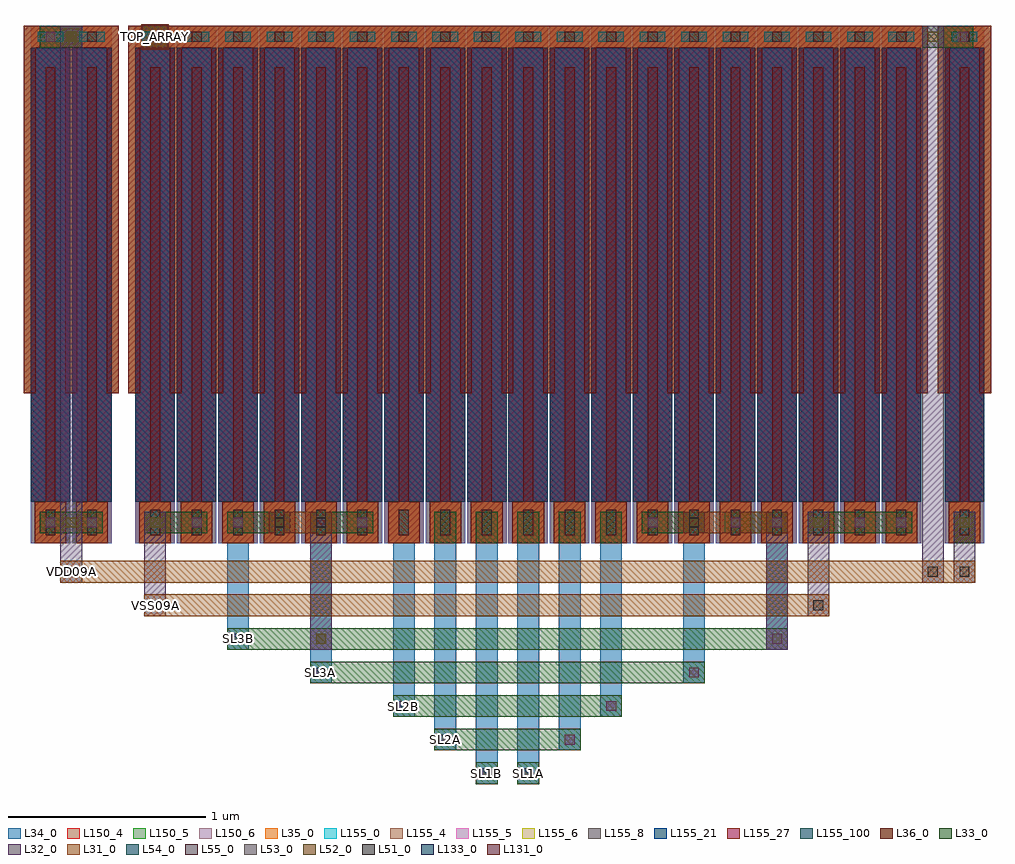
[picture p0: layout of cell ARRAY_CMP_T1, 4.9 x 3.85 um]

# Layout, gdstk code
from math import pi, radians
import gdstk
lib = gdstk.Library(unit=1e-6, precision=1e-09)
def R(c, l, rs):  # rectangles x0, y0, x1, y1
    for r in rs: c.add(gdstk.rectangle(r[:2], r[2:], *l))
def A(c, l, x, y, w, h, nx, ny, dx, dy):  # array of equal rectangles
    R(c, l, [(x+i*dx, y+j*dy, x+i*dx+w, y+j*dy+h) for i in range(nx) for j in range(ny)])
L31_0 = (31, 0)
L32_0 = (32, 0)
L33_0 = (33, 0)
L34_0 = (34, 0)
L35_0 = (35, 0)
L36_0 = (36, 0)
L51_0 = (51, 0)
L52_0 = (52, 0)
L53_0 = (53, 0)
L54_0 = (54, 0)
L55_0 = (55, 0)
L131_0 = (131, 0)
L133_0 = (133, 0)
L150_4 = (150, 4)
L150_5 = (150, 5)
L150_6 = (150, 6)
L155_0 = (155, 0)
L155_4 = (155, 4)
L155_5 = (155, 5)
L155_6 = (155, 6)
L155_8 = (155, 8)
L155_21 = (155, 21)
L155_27 = (155, 27)
L155_100 = (155, 100)

m5_m4_cdns_621960005226 = lib.new_cell('M5_M4_CDNS_621960005226')
R(m5_m4_cdns_621960005226, L34_0, [(-0.07,-0.105,0.07,0.105)])
R(m5_m4_cdns_621960005226, L35_0, [(-0.07,-0.105,0.07,0.105)])
R(m5_m4_cdns_621960005226, L54_0, [(-0.025,-0.065,0.025,0.065)])

m6_m5_cdns_621960005227 = lib.new_cell('M6_M5_CDNS_621960005227')
R(m6_m5_cdns_621960005227, L35_0, [(-0.07,-0.105,0.07,0.105)])
R(m6_m5_cdns_621960005227, L36_0, [(-0.055,-0.105,0.055,0.105)])
R(m6_m5_cdns_621960005227, L55_0, [(-0.025,-0.065,0.025,0.065)])

m5_m4_cdns_621960005228 = lib.new_cell('M5_M4_CDNS_621960005228')
R(m5_m4_cdns_621960005228, L34_0, [(-0.095,-0.055,0.095,0.055)])
R(m5_m4_cdns_621960005228, L35_0, [(-0.12,-0.055,0.12,0.055)])
R(m5_m4_cdns_621960005228, L54_0, [(-0.065,-0.025,0.065,0.025)])

m6_m5_cdns_621960005229 = lib.new_cell('M6_M5_CDNS_621960005229')
R(m6_m5_cdns_621960005229, L35_0, [(-0.055,-0.055,0.055,0.055)])
R(m6_m5_cdns_621960005229, L36_0, [(-0.055,-0.055,0.055,0.055)])
R(m6_m5_cdns_621960005229, L55_0, [(-0.025,-0.025,0.025,0.025)])

cu1f = lib.new_cell('CU1F')
R(cu1f, L34_0, [(0.02,0,0.18,0.21), (-0.035,2.51,0.235,2.62)])
R(cu1f, L35_0, [(0.02,0,0.18,0.21), (-0.035,2.51,0.235,2.62)])
R(cu1f, L36_0, [(0.02,0,0.18,0.21), (-0.035,2.51,0.235,2.62)])
R(cu1f, L150_4, [(0,0,0.2,2.62)])
R(cu1f, L150_5, [(0,0,0.2,2.62)])
R(cu1f, L150_6, [(0,0,0.2,2.62)])
R(cu1f, L155_0, [(0,0.21,0.2,2.51)])
R(cu1f, L155_4, [(0,0.21,0.2,2.51)])
R(cu1f, L155_5, [(0,0.21,0.2,2.51)])
R(cu1f, L155_6, [(0,0.21,0.2,2.51)])
R(cu1f, L155_8, [(0,0.21,0.2,2.51)])
R(cu1f, L155_21, [(0,0.21,0.2,2.51)])
R(cu1f, L155_27, [(0,0.21,0.2,2.51)])
R(cu1f, L155_100, [(0,0.21,0.2,2.51)])
cu1f.add(gdstk.FlexPath([(0.205,2.59),(0.205,0.76)], 0.06, ends=(0.03, 0), simple_path=True, layer=34, datatype=0))  # L34_0
cu1f.add(gdstk.FlexPath([(0.1,2.41),(0.1,0)], 0.05, ends="flush", simple_path=True, layer=34, datatype=0))  # L34_0
cu1f.add(gdstk.FlexPath([(-0.005,2.59),(-0.005,0.76)], 0.06, ends=(0.03, 0), simple_path=True, layer=34, datatype=0))  # L34_0
cu1f.add(gdstk.FlexPath([(0.205,0.76),(0.205,2.59)], 0.06, ends=(0, 0.03), simple_path=True, layer=35, datatype=0))  # L35_0
cu1f.add(gdstk.FlexPath([(0.1,2.41),(0.1,0)], 0.05, ends="flush", simple_path=True, layer=35, datatype=0))  # L35_0
cu1f.add(gdstk.FlexPath([(-0.005,0.76),(-0.005,2.59)], 0.06, ends=(0, 0.03), simple_path=True, layer=35, datatype=0))  # L35_0
cu1f.add(gdstk.FlexPath([(0.205,0.76),(0.205,2.59)], 0.06, ends=(0, 0.03), simple_path=True, layer=36, datatype=0))  # L36_0
cu1f.add(gdstk.FlexPath([(0.1,2.41),(0.1,0)], 0.05, ends="flush", simple_path=True, layer=36, datatype=0))  # L36_0
cu1f.add(gdstk.FlexPath([(-0.005,0.76),(-0.005,2.59)], 0.06, ends=(0, 0.03), simple_path=True, layer=36, datatype=0))  # L36_0
cu1f.add(gdstk.Reference(m5_m4_cdns_621960005226, (0.1,0.105), rotation=pi, x_reflection=True))
cu1f.add(gdstk.Reference(m6_m5_cdns_621960005227, (0.1,0.105), rotation=pi, x_reflection=True))
cu1f.add(gdstk.Reference(m5_m4_cdns_621960005228, (0.1,2.565)))
cu1f.add(gdstk.Reference(m6_m5_cdns_621960005229, (0.1,2.565)))

m2_m1_cdns_621960005220 = lib.new_cell('M2_M1_CDNS_621960005220')
R(m2_m1_cdns_621960005220, L31_0, [(-0.055,-0.055,0.055,0.055)])
R(m2_m1_cdns_621960005220, L32_0, [(-0.055,-0.055,0.055,0.055)])
R(m2_m1_cdns_621960005220, L51_0, [(-0.025,-0.025,0.025,0.025)])

m3_m2_cdns_621960005221 = lib.new_cell('M3_M2_CDNS_621960005221')
R(m3_m2_cdns_621960005221, L32_0, [(-0.055,-0.055,0.055,0.055)])
R(m3_m2_cdns_621960005221, L33_0, [(-0.055,-0.055,0.055,0.055)])
R(m3_m2_cdns_621960005221, L52_0, [(-0.025,-0.025,0.025,0.025)])

m4_m3_cdns_621960005222 = lib.new_cell('M4_M3_CDNS_621960005222')
R(m4_m3_cdns_621960005222, L33_0, [(-0.055,-0.055,0.055,0.055)])
R(m4_m3_cdns_621960005222, L34_0, [(-0.055,-0.055,0.055,0.055)])
R(m4_m3_cdns_621960005222, L53_0, [(-0.025,-0.025,0.025,0.025)])

m4_m3_cdns_621960005223 = lib.new_cell('M4_M3_CDNS_621960005223')
R(m4_m3_cdns_621960005223, L33_0, [(-0.07,-0.065,0.07,0.065)])
R(m4_m3_cdns_621960005223, L34_0, [(-0.055,-0.055,0.055,0.055)])
R(m4_m3_cdns_621960005223, L53_0, [(-0.025,-0.025,0.025,0.025)])

m3_m2_cdns_621960005224 = lib.new_cell('M3_M2_CDNS_621960005224')
R(m3_m2_cdns_621960005224, L32_0, [(-0.065,-0.06,0.065,0.06)])
R(m3_m2_cdns_621960005224, L33_0, [(-0.07,-0.065,0.07,0.065)])
R(m3_m2_cdns_621960005224, L52_0, [(-0.025,-0.025,0.025,0.025)])

m2_m1_cdns_621960005225 = lib.new_cell('M2_M1_CDNS_621960005225')
R(m2_m1_cdns_621960005225, L31_0, [(-0.055,-0.055,0.055,0.055)])
R(m2_m1_cdns_621960005225, L32_0, [(-0.065,-0.06,0.065,0.06)])
R(m2_m1_cdns_621960005225, L51_0, [(-0.025,-0.025,0.025,0.025)])

array_cmp_t1 = lib.new_cell('ARRAY_CMP_T1')
R(array_cmp_t1, L31_0, [(0.575,-0.37,4.045,-0.26), (0.15,-0.2,4.785,-0.09), (1.205,0.05,1.525,0.16), (3.305,0.05,3.835,0.16), (0.56,2.5,0.7,2.63)])
R(array_cmp_t1, L32_0, [(1.415,-0.54,1.525,0.16), (3.725,-0.54,3.835,0.16), (0.575,-0.37,0.685,0.16), (3.935,-0.37,4.045,0.16), (0.15,-0.2,0.26,2.62), (4.515,-0.2,4.625,2.62), (4.675,-0.2,4.785,0.16)])
A(array_cmp_t1, L33_0, 2.045, 0, 0.11, 0.16, 5, 1, 0.21, 0)
A(array_cmp_t1, L33_0, 0.575, 0.05, 0.32, 0.11, 3, 1, 0.42, 0)
R(array_cmp_t1, L33_0, [(2.255,-1.22,2.365,-1.11), (2.465,-1.22,2.575,-1.11), (2.045,-1.05,2.785,-0.94), (1.835,-0.88,2.995,-0.77), (1.415,-0.71,3.415,-0.6), (0.995,-0.54,3.835,-0.43), (4.675,0,4.785,0.16), (0.045,0.05,0.365,0.16), (3.095,0.05,3.415,0.16), (3.515,0.05,3.835,0.16), (3.935,0.05,4.465,0.16), (0.045,2.51,0.26,2.62), (4.515,2.51,4.775,2.62)])
R(array_cmp_t1, L34_0, [(2.255,-1.22,2.365,0.16), (2.465,-1.22,2.575,0.16), (2.045,-1.05,2.155,0.16), (2.675,-1.05,2.785,0.16), (1.835,-0.88,1.945,0.16), (2.885,-0.88,2.995,0.16), (1.415,-0.71,1.525,0.16), (3.305,-0.71,3.415,0.16), (0.995,-0.54,1.105,0.16), (3.725,-0.54,3.835,0.16)])
R(array_cmp_t1, L131_0, [(0.605,-0.34,0.655,-0.29), (0.18,-0.17,0.23,-0.12), (0.605,2.54,0.655,2.59)])
R(array_cmp_t1, L133_0, [(2.285,-1.19,2.335,-1.14), (2.495,-1.19,2.545,-1.14), (2.075,-1.02,2.125,-0.97), (1.865,-0.85,1.915,-0.8), (1.445,-0.68,1.495,-0.63), (1.025,-0.51,1.075,-0.46)])
array_cmp_t1.add(gdstk.Reference(cu1f, (0,0)))
array_cmp_t1.add(gdstk.Reference(cu1f, (0.21,0)))
array_cmp_t1.add(gdstk.Reference(cu1f, (0.53,0)))
array_cmp_t1.add(gdstk.Reference(cu1f, (0.74,0)))
array_cmp_t1.add(gdstk.Reference(cu1f, (4.63,0)))
array_cmp_t1.add(gdstk.Reference(cu1f, (4.31,0)))
array_cmp_t1.add(gdstk.Reference(cu1f, (4.1,0)))
array_cmp_t1.add(gdstk.Reference(cu1f, (3.89,0)))
array_cmp_t1.add(gdstk.Reference(cu1f, (3.68,0)))
array_cmp_t1.add(gdstk.Reference(cu1f, (3.47,0)))
array_cmp_t1.add(gdstk.Reference(cu1f, (3.26,0)))
array_cmp_t1.add(gdstk.Reference(cu1f, (3.05,0)))
array_cmp_t1.add(gdstk.Reference(cu1f, (2.84,0)))
array_cmp_t1.add(gdstk.Reference(cu1f, (2.63,0)))
array_cmp_t1.add(gdstk.Reference(cu1f, (2.42,0)))
array_cmp_t1.add(gdstk.Reference(cu1f, (2.21,0)))
array_cmp_t1.add(gdstk.Reference(cu1f, (2,0)))
array_cmp_t1.add(gdstk.Reference(cu1f, (1.79,0)))
array_cmp_t1.add(gdstk.Reference(cu1f, (1.58,0)))
array_cmp_t1.add(gdstk.Reference(cu1f, (1.37,0)))
array_cmp_t1.add(gdstk.Reference(cu1f, (1.16,0)))
array_cmp_t1.add(gdstk.Reference(cu1f, (0.95,0)))
array_cmp_t1.add(gdstk.Reference(m2_m1_cdns_621960005220, (4.57,-0.145)))
array_cmp_t1.add(gdstk.Reference(m2_m1_cdns_621960005220, (0.205,-0.145)))
array_cmp_t1.add(gdstk.Reference(m2_m1_cdns_621960005220, (1.47,0.105)))
array_cmp_t1.add(gdstk.Reference(m2_m1_cdns_621960005220, (1.26,0.105)))
array_cmp_t1.add(gdstk.Reference(m2_m1_cdns_621960005220, (3.36,0.105)))
array_cmp_t1.add(gdstk.Reference(m2_m1_cdns_621960005220, (4.73,-0.145)))
array_cmp_t1.add(gdstk.Reference(m2_m1_cdns_621960005220, (3.99,-0.315)))
array_cmp_t1.add(gdstk.Reference(m2_m1_cdns_621960005220, (0.63,-0.315)))
array_cmp_t1.add(gdstk.Reference(m3_m2_cdns_621960005221, (4.57,2.565)))
array_cmp_t1.add(gdstk.Reference(m3_m2_cdns_621960005221, (0.205,2.565)))
array_cmp_t1.add(gdstk.Reference(m3_m2_cdns_621960005221, (3.36,0.105)))
array_cmp_t1.add(gdstk.Reference(m3_m2_cdns_621960005221, (1.47,-0.485)))
array_cmp_t1.add(gdstk.Reference(m3_m2_cdns_621960005221, (1.26,0.105)))
array_cmp_t1.add(gdstk.Reference(m3_m2_cdns_621960005221, (4.73,0.105)))
array_cmp_t1.add(gdstk.Reference(m3_m2_cdns_621960005221, (3.99,0.105)))
array_cmp_t1.add(gdstk.Reference(m3_m2_cdns_621960005221, (0.63,0.105)))
array_cmp_t1.add(gdstk.Reference(m3_m2_cdns_621960005221, (0.205,0.105)))
array_cmp_t1.add(gdstk.Reference(m4_m3_cdns_621960005222, (3.78,-0.485)))
array_cmp_t1.add(gdstk.Reference(m4_m3_cdns_621960005222, (4.72,2.565), rotation=pi, x_reflection=True))
array_cmp_t1.add(gdstk.Reference(m4_m3_cdns_621960005222, (0.1,2.565)))
array_cmp_t1.add(gdstk.Reference(m4_m3_cdns_621960005222, (2.94,-0.825)))
array_cmp_t1.add(gdstk.Reference(m4_m3_cdns_621960005222, (1.26,0.105)))
array_cmp_t1.add(gdstk.Reference(m4_m3_cdns_621960005222, (1.89,-0.825)))
array_cmp_t1.add(gdstk.Reference(m4_m3_cdns_621960005222, (1.68,0.105)))
array_cmp_t1.add(gdstk.Reference(m4_m3_cdns_621960005222, (3.78,0.105)))
array_cmp_t1.add(gdstk.Reference(m4_m3_cdns_621960005222, (1.47,-0.655)))
array_cmp_t1.add(gdstk.Reference(m4_m3_cdns_621960005222, (3.15,0.105)))
array_cmp_t1.add(gdstk.Reference(m4_m3_cdns_621960005222, (3.57,0.105)))
array_cmp_t1.add(gdstk.Reference(m4_m3_cdns_621960005222, (3.36,0.105)))
array_cmp_t1.add(gdstk.Reference(m4_m3_cdns_621960005222, (2.73,-0.995)))
array_cmp_t1.add(gdstk.Reference(m4_m3_cdns_621960005222, (4.73,0.105)))
array_cmp_t1.add(gdstk.Reference(m4_m3_cdns_621960005222, (4.2,0.105)))
array_cmp_t1.add(gdstk.Reference(m4_m3_cdns_621960005222, (4.41,0.105)))
array_cmp_t1.add(gdstk.Reference(m4_m3_cdns_621960005222, (3.99,0.105)))
array_cmp_t1.add(gdstk.Reference(m4_m3_cdns_621960005222, (0.84,0.105)))
array_cmp_t1.add(gdstk.Reference(m4_m3_cdns_621960005222, (0.63,0.105)))
array_cmp_t1.add(gdstk.Reference(m4_m3_cdns_621960005222, (0.1,0.105)))
array_cmp_t1.add(gdstk.Reference(m4_m3_cdns_621960005222, (0.31,0.105)))
array_cmp_t1.add(gdstk.Reference(m4_m3_cdns_621960005222, (1.05,-0.485)))
array_cmp_t1.add(gdstk.Reference(m4_m3_cdns_621960005222, (2.31,-1.165)))
array_cmp_t1.add(gdstk.Reference(m4_m3_cdns_621960005222, (2.52,-1.165)))
array_cmp_t1.add(gdstk.Reference(m4_m3_cdns_621960005222, (3.36,-0.655)))
array_cmp_t1.add(gdstk.Reference(m4_m3_cdns_621960005222, (1.47,0.105)))
array_cmp_t1.add(gdstk.Reference(m4_m3_cdns_621960005222, (1.05,0.105)))
array_cmp_t1.add(gdstk.Reference(m4_m3_cdns_621960005222, (2.1,-0.995)))
array_cmp_t1.add(gdstk.Reference(m4_m3_cdns_621960005223, (0.63,2.565)))
array_cmp_t1.add(gdstk.Reference(m3_m2_cdns_621960005224, (0.63,2.565)))
array_cmp_t1.add(gdstk.Reference(m2_m1_cdns_621960005225, (0.63,2.565)))
array_cmp_t1.add(gdstk.Label('SL1A', (2.52,-1.165), layer=133, texttype=0))
array_cmp_t1.add(gdstk.Label('SL3A', (1.47,-0.655), layer=133, texttype=0))
array_cmp_t1.add(gdstk.Label('SL1B', (2.31,-1.165), layer=133, texttype=0))
array_cmp_t1.add(gdstk.Label('SL2A', (2.1,-0.995), layer=133, texttype=0))
array_cmp_t1.add(gdstk.Label('SL3B', (1.05,-0.485), layer=133, texttype=0))
array_cmp_t1.add(gdstk.Label('SL2B', (1.89,-0.825), layer=133, texttype=0))
array_cmp_t1.add(gdstk.Label('VDD09A', (0.205,-0.145), layer=131, texttype=0))
array_cmp_t1.add(gdstk.Label('VSS09A', (0.63,-0.315), layer=131, texttype=0))
array_cmp_t1.add(gdstk.Label('TOP_ARRAY', (0.628,2.565), layer=131, texttype=0))

lib.write_gds('ARRAY_CMP_T1.gds')
